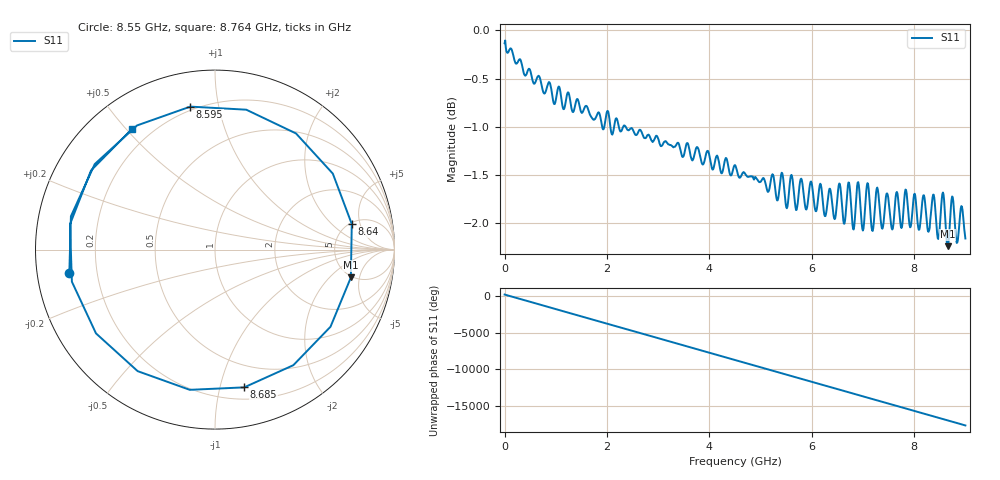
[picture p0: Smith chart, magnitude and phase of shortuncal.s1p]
# Hz S RI R 50
! CMT, SC5090, 20109241, 21.3.2/2
! Date: 11/4/2021 12:45:18 PM
! Data: Format (Calibration Info)
! Freq	S11:Re/Im(--)
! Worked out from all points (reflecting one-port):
!   801 points, 1 MHz to 9 GHz, reference 50 ohm
!   lowest |S11| = -2.2 dB at 8.651 GHz (marker M1), VSWR 7.80, Z = 242 - j187 ohm
!   phase of S11 starts at 178 deg and turns -17803 deg over the sweep
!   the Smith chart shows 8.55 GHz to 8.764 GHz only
!   S11 on the Smith chart (normalised r, x): 8.55 GHz: 0.10, -0.08; 8.595 GHz: 0.18, +0.83; 8.64 GHz: 5.18, +3.70; 8.685 GHz: 0.30, -1.19; 8.764 GHz: 0.13, +0.52
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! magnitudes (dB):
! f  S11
! 1 MHz  -0.1
! 1.126 GHz  -0.8
! 2.251 GHz  -1.0
! 3.376 GHz  -1.2
! 4.5 GHz  -1.4
! 5.625 GHz  -1.5
! 6.447 GHz  -2.0
! 6.75 GHz  -1.7
! 6.818 GHz  -2.1
! 6.908 GHz  -1.6
! 6.998 GHz  -2.1
! 7.088 GHz  -1.6
! 7.189 GHz  -2.1
! 7.279 GHz  -1.6
! 7.38 GHz  -2.1
! 7.47 GHz  -1.7
! 7.571 GHz  -2.1
! 7.875 GHz  -1.8
! 8.28 GHz  -2.1
! 8.37 GHz  -1.7
! 8.471 GHz  -2.2
! 8.55 GHz  -1.7
! 8.595 GHz  -1.8
! 8.64 GHz  -2.2
! 8.651 GHz  -2.2
! 8.685 GHz  -2.1
! 8.764 GHz  -1.8
! 9 GHz  -2.2
